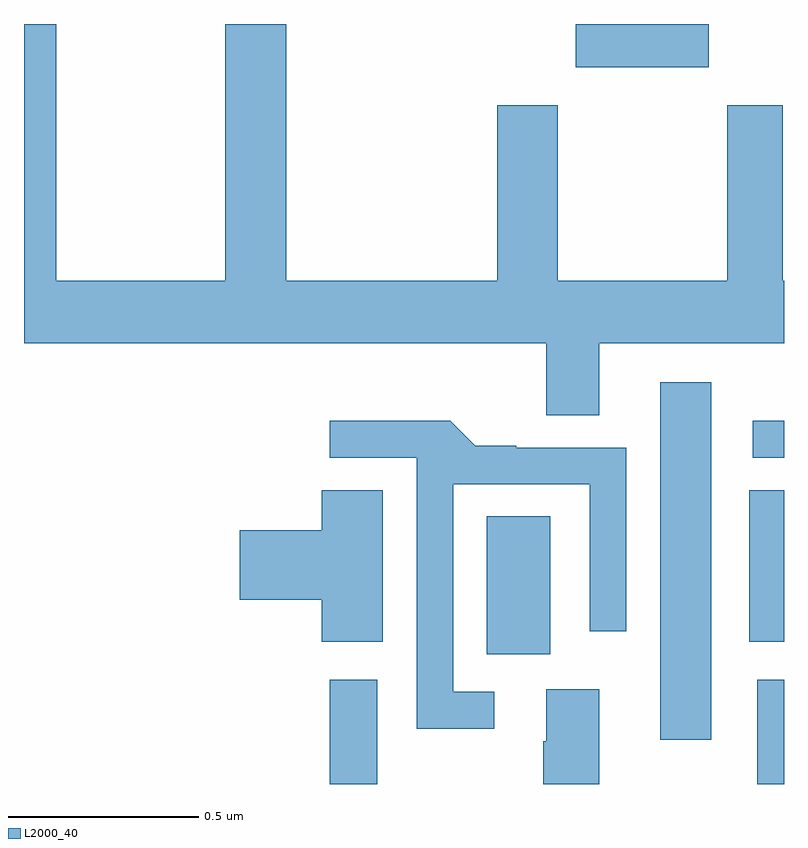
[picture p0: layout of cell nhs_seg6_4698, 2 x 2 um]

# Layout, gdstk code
import gdstk
lib = gdstk.Library(unit=1e-6, precision=1e-09)
def R(c, l, rs):  # rectangles x0, y0, x1, y1
    for r in rs: c.add(gdstk.rectangle(r[:2], r[2:], *l))
def P(c, l, *ps):  # polygons
    for p in ps: c.add(gdstk.Polygon(p, *l))
L2000_40 = (2000, 40)

nhs_seg6_4698 = lib.new_cell('nhs_seg6_4698')
R(nhs_seg6_4698, L2000_40, [(173.804,955.5,173.929,955.774), (174.929,955.5,175,955.774), (174.674,955.617,174.808,956.557), (174.218,955.842,174.385,956.204), (174.908,955.875,175,956.273), (174.918,956.358,175,956.456), (174.452,957.386,174.802,957.5)])
P(nhs_seg6_4698, L2000_40, [(174.514,956.66),(175,956.66),(175,956.824),(174.997,956.824),(174.997,957.286),(174.85,957.286),(174.85,956.824),(174.405,956.824),(174.405,957.286),(174.245,957.286),(174.245,956.824),(173.69,956.824),(173.69,957.5),(173.53,957.5),(173.53,956.824),(173.085,956.824),(173.085,957.5),(173,957.5),(173,956.66),(174.374,956.66),(174.374,956.47),(174.514,956.47)],
  [(174.238,955.743),(174.129,955.743),(174.129,956.289),(174.489,956.289),(174.489,955.902),(174.585,955.902),(174.585,956.385),(174.295,956.385),(174.295,956.39),(174.187,956.39),(174.122,956.456),(173.805,956.456),(173.805,956.358),(174.033,956.358),(174.033,955.646),(174.238,955.646)],
  [(173.944,956.273),(173.783,956.273),(173.783,956.168),(173.568,956.168),(173.568,955.985),(173.783,955.985),(173.783,955.875),(173.944,955.875)],
  [(174.514,955.75),(174.374,955.75),(174.374,955.613),(174.367,955.613),(174.367,955.5),(174.514,955.5)])

lib.write_gds('nhs_seg6_4698.gds')
